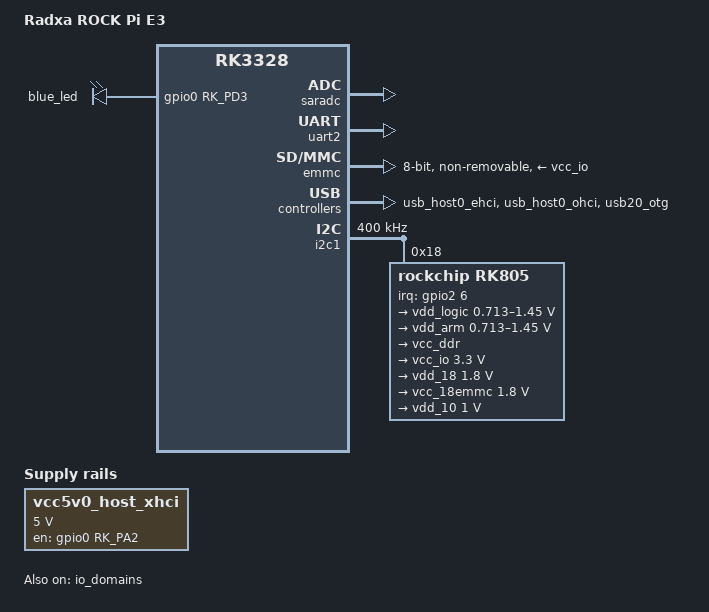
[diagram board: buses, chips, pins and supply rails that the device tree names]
// SPDX-License-Identifier: GPL-2.0+
/*
 * (C) Copyright 2016 Rockchip Electronics Co., Ltd
 */

/dts-v1/;
#include "rk3328.dtsi"

/ {
	model = "Radxa ROCK Pi E3";
	compatible = "radxa,rockpie3", "rockchip,rk3328";

	chosen {
		stdout-path = &uart2;
	};

	vcc5v0_host_xhci: vcc5v0-host-xhci-drv {
		compatible = "regulator-fixed";
		enable-active-high;
		regulator-name = "vcc5v0_host_xhci";
		gpio = <&gpio0 RK_PA2 GPIO_ACTIVE_HIGH>;
		regulator-min-microvolt = <5000000>;
		regulator-max-microvolt = <5000000>;
		regulator-always-on;
		regulator-boot-on;
	};

	leds {
		compatible = "gpio-leds";
		status = "okay";

		blue-led {
			gpios = <&gpio0 RK_PD3 GPIO_ACTIVE_HIGH>;
			label = "blue_led";
			default-state = "on";
		};
	};
};

&cpu0 {
	cpu-supply = <&vdd_arm>;
};

&cpu1 {
	cpu-supply = <&vdd_arm>;
};

&cpu2 {
	cpu-supply = <&vdd_arm>;
};

&cpu3 {
	cpu-supply = <&vdd_arm>;
};

&saradc {
	status = "okay";
};

&uart2 {
	status = "okay";
};

&emmc {
	bus-width = <8>;
	cap-mmc-highspeed;
	mmc-hs200-1_8v;
	supports-emmc;
	disable-wp;
	non-removable;
	num-slots = <1>;
	pinctrl-names = "default";
	pinctrl-0 = <&emmc_clk &emmc_cmd &emmc_bus8>;
	vmmc-supply = <&vcc_io>;
	vqmmc-supply = <&vcc_18emmc>;
	status = "okay";
};

&usb_host0_ehci {
	status = "okay";
};

&usb_host0_ohci {
	status = "okay";
};

&usb20_otg {
	status = "okay";
};

&i2c1 {
	clock-frequency = <400000>;
	i2c-scl-rising-time-ns = <168>;
	i2c-scl-falling-time-ns = <4>;
	status = "okay";

	rk805: pmic@18 {
		compatible = "rockchip,rk805";
		status = "okay";
		reg = <0x18>;
		interrupt-parent = <&gpio2>;
		interrupts = <6 IRQ_TYPE_LEVEL_LOW>;
		pinctrl-names = "default";
		pinctrl-0 = <&pmic_int_l>;
		rockchip,system-power-controller;
		wakeup-source;
		gpio-controller;
		#gpio-cells = <2>;
		#clock-cells = <1>;
		clock-output-names = "xin32k", "rk805-clkout2";

		regulators {
			vdd_logic: DCDC_REG1 {
				regulator-name = "vdd_logic";
				regulator-min-microvolt = <712500>;
				regulator-max-microvolt = <1450000>;
				regulator-ramp-delay = <6001>;
				regulator-boot-on;
				regulator-always-on;
				regulator-state-mem {
					regulator-on-in-suspend;
					regulator-suspend-microvolt = <1000000>;
				};
			};

			vdd_arm: DCDC_REG2 {
				regulator-name = "vdd_arm";
				regulator-min-microvolt = <712500>;
				regulator-max-microvolt = <1450000>;
				regulator-ramp-delay = <6001>;
				regulator-boot-on;
				regulator-always-on;
				regulator-state-mem {
					regulator-on-in-suspend;
					regulator-suspend-microvolt = <1000000>;
				};
			};

			vcc_ddr: DCDC_REG3 {
				regulator-name = "vcc_ddr";
				regulator-boot-on;
				regulator-always-on;
				regulator-state-mem {
					regulator-on-in-suspend;
				};
			};

			vcc_io: DCDC_REG4 {
				regulator-name = "vcc_io";
				regulator-min-microvolt = <3300000>;
				regulator-max-microvolt = <3300000>;
				regulator-boot-on;
				regulator-always-on;
				regulator-state-mem {
					regulator-on-in-suspend;
					regulator-suspend-microvolt = <3300000>;
				};
			};

			vdd_18: LDO_REG1 {
				regulator-name = "vdd_18";
				regulator-min-microvolt = <1800000>;
				regulator-max-microvolt = <1800000>;
				regulator-boot-on;
				regulator-always-on;
				regulator-state-mem {
					regulator-on-in-suspend;
					regulator-suspend-microvolt = <1800000>;
				};
			};

			vcc_18emmc: LDO_REG2 {
				regulator-name = "vcc_18emmc";
				regulator-min-microvolt = <1800000>;
				regulator-max-microvolt = <1800000>;
				regulator-boot-on;
				regulator-always-on;
				regulator-state-mem {
					regulator-on-in-suspend;
					regulator-suspend-microvolt = <1800000>;
				};
			};

			vdd_10: LDO_REG3 {
				regulator-name = "vdd_10";
				regulator-min-microvolt = <1000000>;
				regulator-max-microvolt = <1000000>;
				regulator-boot-on;
				regulator-always-on;
				regulator-state-mem {
					regulator-on-in-suspend;
					regulator-suspend-microvolt = <1000000>;
				};
			};
		};
	};
};

&io_domains {
	status = "okay";

	vccio1-supply = <&vcc_io>;
	vccio2-supply = <&vcc_18emmc>;
	vccio3-supply = <&vcc_io>;
	vccio4-supply = <&vcc_io>;
	vccio5-supply = <&vcc_io>;
	vccio6-supply = <&vcc_io>;
	pmuio-supply = <&vcc_io>;
};

&pinctrl {
	pmic {
		pmic_int_l: pmic-int-l {
		rockchip,pins =
			<2 RK_PA6 RK_FUNC_GPIO &pcfg_pull_up>;
		};
	};
};

